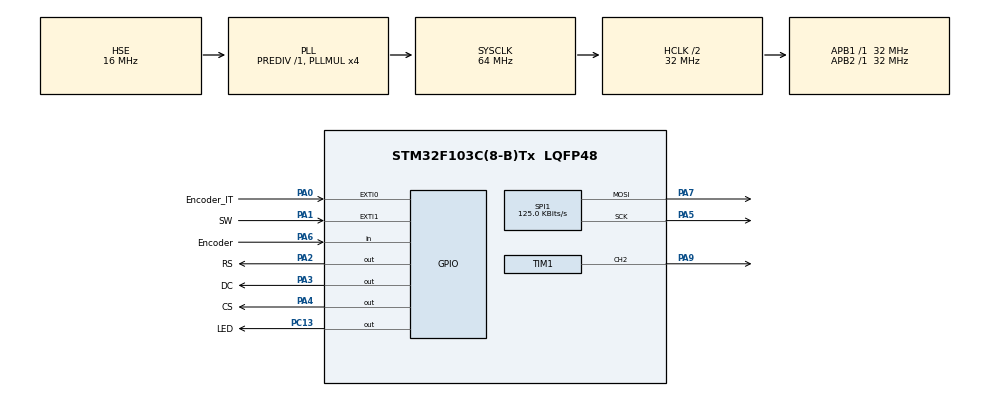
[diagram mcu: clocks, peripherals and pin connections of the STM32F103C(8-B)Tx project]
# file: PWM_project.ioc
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Mcu.Family=STM32F1
Mcu.Name=STM32F103C(8-B)Tx
Mcu.Package=LQFP48
NVIC.EXTI0_IRQn=true\:3\:0\:true\:false\:true\:true\:true\:true
NVIC.EXTI1_IRQn=true\:4\:0\:true\:false\:true\:true\:true\:true
NVIC.PriorityGroup=NVIC_PRIORITYGROUP_4
NVIC.TIM2_IRQn=true\:0\:0\:false\:false\:true\:true\:true\:true
PA0-WKUP.GPIO_Label=Encoder_IT
PA0-WKUP.GPIO_ModeDefaultEXTI=GPIO_MODE_IT_RISING_FALLING
PA0-WKUP.Signal=GPXTI0
PA1.GPIO_Label=SW
PA1.GPIO_ModeDefaultEXTI=GPIO_MODE_IT_FALLING
PA1.GPIO_PuPd=GPIO_PULLUP
PA1.Signal=GPXTI1
PA13.Mode=Serial_Wire
PA13.Signal=SYS_JTMS-SWDIO
PA14.Mode=Serial_Wire
PA14.Signal=SYS_JTCK-SWCLK
PA2.GPIO_Label=RS
PA2.Signal=GPIO_Output
PA3.GPIO_Label=DC
PA3.Signal=GPIO_Output
PA4.GPIO_Label=CS
PA4.Signal=GPIO_Output
PA5.Mode=TX_Only_Simplex_Unidirect_Master
PA5.Signal=SPI1_SCK
PA6.GPIO_Label=Encoder
PA6.GPIO_PuPd=GPIO_NOPULL
PA6.Signal=GPIO_Input
PA7.Mode=TX_Only_Simplex_Unidirect_Master
PA7.Signal=SPI1_MOSI
PA9.Signal=S_TIM1_CH2
PC13-TAMPER-RTC.GPIO_Label=LED
PC13-TAMPER-RTC.PinState=GPIO_PIN_SET
PC13-TAMPER-RTC.Signal=GPIO_Output
PD0-OSC_IN.Mode=HSE-External-Oscillator
PD0-OSC_IN.Signal=RCC_OSC_IN
PD1-OSC_OUT.Mode=HSE-External-Oscillator
PD1-OSC_OUT.Signal=RCC_OSC_OUT
ProjectManager.HeapSize=0x200
ProjectManager.StackSize=0x400
ProjectManager.TargetToolchain=STM32CubeIDE
RCC.AHBCLKDivider=RCC_SYSCLK_DIV2
RCC.AHBFreq_Value=32000000
RCC.APB1Freq_Value=32000000
RCC.APB1TimFreq_Value=32000000
RCC.APB2Freq_Value=32000000
RCC.APB2TimFreq_Value=32000000
RCC.HCLKFreq_Value=32000000
RCC.HSE_VALUE=16000000
RCC.PLLMUL=RCC_PLL_MUL4
RCC.PLLSourceVirtual=RCC_PLLSOURCE_HSE
RCC.SYSCLKFreq_VALUE=64000000
RCC.SYSCLKSource=RCC_SYSCLKSOURCE_PLLCLK
RCC.USBFreq_Value=64000000
SH.S_TIM1_CH2.0=TIM1_CH2,PWM Generation2 CH2
SPI1.BaudRatePrescaler=SPI_BAUDRATEPRESCALER_256
SPI1.CalculateBaudRate=125.0 KBits/s
SPI1.Direction=SPI_DIRECTION_2LINES
SPI1.Mode=SPI_MODE_MASTER
SPI1.VirtualType=VM_MASTER
TIM1.AutoReloadPreload=TIM_AUTORELOAD_PRELOAD_ENABLE
TIM1.Channel-PWM\ Generation2\ CH2=TIM_CHANNEL_2
TIM1.ClockDivision=TIM_CLOCKDIVISION_DIV1
TIM1.Period=100-1
TIM1.Prescaler=32-1
TIM1.Pulse-PWM\ Generation2\ CH2=30
TIM2.AutoReloadPreload=TIM_AUTORELOAD_PRELOAD_ENABLE
TIM2.Period=999
TIM2.Prescaler=32-1
VP_TIM1_VS_ClockSourceINT.Mode=Internal
VP_TIM2_VS_ClockSourceINT.Mode=Internal
board=custom

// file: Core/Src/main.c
/* USER CODE BEGIN Header */
/**
  ******************************************************************************
  * @file           : main.c
  * @brief          : Main program body
  ******************************************************************************
  * @attention
  *
  * Copyright (c) 2024 STMicroelectronics.
  * All rights reserved.
  *
  * This software is licensed under terms that can be found in the LICENSE file
  * in the root directory of this software component.
  * If no LICENSE file comes with this software, it is provided AS-IS.
  *
  ******************************************************************************
  */
/* USER CODE END Header */
#include "main.h"

/* USER CODE BEGIN Includes */
#include <stdio.h>

#include "SSD_1306.h"
#include "DataDef.h"
#define REAL_RAM
#include "RamDef.h"
#undef REAL_RAM
#include "FuncDef.h"
#include "test.h"
/* USER CODE END Includes */

SPI_HandleTypeDef hspi1;

TIM_HandleTypeDef htim1;
TIM_HandleTypeDef htim2;

/* USER CODE BEGIN PV */

uint8_t Encoder_Sw_Flag;
uint8_t Encoder_Rotate_Flag;
/* USER CODE END PV */

void SystemClock_Config(void);
static void MX_GPIO_Init(void);
static void MX_SPI1_Init(void);
static void MX_TIM1_Init(void);
static void MX_TIM2_Init(void);

/* USER CODE BEGIN 0 */
void Timer_Process( ST_TIMER* apst_Timer, uint8_t au1_time_ms )
{
    apst_Timer->u1_Cnt++;
    if ( apst_Timer->u1_Cnt >= au1_time_ms )
    {
      apst_Timer->u1_Cnt = U1_OFF;
      apst_Timer->u1_Flag = U1_ON;
    }
}

__weak void HAL_GPIO_EXTI_Callback(uint16_t GPIO_Pin)
{
  // Encoder rotated
  if ( GPIO_Pin == Encoder_IT_Pin )
  {
      Encoder_Rotate_Process_IT();
  }
}

/* USER CODE END 0 */

int main(void)
{

  /* MCU Configuration--------------------------------------------------------*/

  /* Reset of all peripherals, Initializes the Flash interface and the Systick. */
  HAL_Init();

  /* Configure the system clock */
  SystemClock_Config();

  /* Initialize all configured peripherals */
  MX_GPIO_Init();
  MX_SPI1_Init();
  MX_TIM1_Init();
  MX_TIM2_Init();
  /* USER CODE BEGIN 2 */
  Timer_Init();
  UI_Init();
  Encoder_Init();

  HAL_TIM_Base_Start_IT( &htim2 );              // Start time base 1ms
  HAL_TIM_PWM_Start( &htim1, TIM_CHANNEL_2 );   // Start PWM with Freq = , and Duty = .

  Encoder_Sw_Flag = U1_NO_PRESS;
  Encoder_Rotate_Flag = U1_NO_ROTATE;
  /* USER CODE END 2 */

  /* Infinite loop */
  while (1)
  {
    /* USER CODE BEGIN 3 */
    if ( st_MainLoop.u1_Flag == 1)
    {
      // Main loop 10ms
      u4_Cnt = 0;
    	st_MainLoop.u1_Flag = 0;
      Encoder_Sw_Flag = u1_Encoder_SW_Process();          // Check SW of Encoder press or not
      Encoder_Rotate_Flag = u1_Give_Encoder_Rotate();     // Check Encoder is rotated or not

      if ( (Encoder_Sw_Flag != U1_NO_PRESS)               // Change UI when switched press or Encoder rotate
        || (Encoder_Rotate_Flag != U1_NO_ROTATE )
        || (u1_Init_First_F == U1_ON))
        {
          UI_Sequence_Update( Encoder_Sw_Flag, Encoder_Rotate_Flag );
          PWM_Change();

          u1_Init_First_F = U1_OFF;
          Clear_Encoder_State();                // Clear Encoder state
        }
      }
  }
  /* USER CODE END 3 */
}

void SystemClock_Config(void)
{
  RCC_OscInitTypeDef RCC_OscInitStruct = {0};
  RCC_ClkInitTypeDef RCC_ClkInitStruct = {0};

  /** Initializes the RCC Oscillators according to the specified parameters
  * in the RCC_OscInitTypeDef structure.
  */
  RCC_OscInitStruct.OscillatorType = RCC_OSCILLATORTYPE_HSE;
  RCC_OscInitStruct.HSEState = RCC_HSE_ON;
  RCC_OscInitStruct.HSEPredivValue = RCC_HSE_PREDIV_DIV1;
  RCC_OscInitStruct.HSIState = RCC_HSI_ON;
  RCC_OscInitStruct.PLL.PLLState = RCC_PLL_ON;
  RCC_OscInitStruct.PLL.PLLSource = RCC_PLLSOURCE_HSE;
  RCC_OscInitStruct.PLL.PLLMUL = RCC_PLL_MUL4;
  if (HAL_RCC_OscConfig(&RCC_OscInitStruct) != HAL_OK)
  {
    Error_Handler();
  }

  /** Initializes the CPU, AHB and APB buses clocks
  */
  RCC_ClkInitStruct.ClockType = RCC_CLOCKTYPE_HCLK|RCC_CLOCKTYPE_SYSCLK
                              |RCC_CLOCKTYPE_PCLK1|RCC_CLOCKTYPE_PCLK2;
  RCC_ClkInitStruct.SYSCLKSource = RCC_SYSCLKSOURCE_PLLCLK;
  RCC_ClkInitStruct.AHBCLKDivider = RCC_SYSCLK_DIV2;
  RCC_ClkInitStruct.APB1CLKDivider = RCC_HCLK_DIV1;
  RCC_ClkInitStruct.APB2CLKDivider = RCC_HCLK_DIV1;

  if (HAL_RCC_ClockConfig(&RCC_ClkInitStruct, FLASH_LATENCY_2) != HAL_OK)
  {
    Error_Handler();
  }
}

static void MX_SPI1_Init(void)
{

  /* SPI1 parameter configuration*/
  hspi1.Instance = SPI1;
  hspi1.Init.Mode = SPI_MODE_MASTER;
  hspi1.Init.Direction = SPI_DIRECTION_2LINES;
  hspi1.Init.DataSize = SPI_DATASIZE_8BIT;
  hspi1.Init.CLKPolarity = SPI_POLARITY_LOW;
  hspi1.Init.CLKPhase = SPI_PHASE_1EDGE;
  hspi1.Init.NSS = SPI_NSS_SOFT;
  hspi1.Init.BaudRatePrescaler = SPI_BAUDRATEPRESCALER_256;
  hspi1.Init.FirstBit = SPI_FIRSTBIT_MSB;
  hspi1.Init.TIMode = SPI_TIMODE_DISABLE;
  hspi1.Init.CRCCalculation = SPI_CRCCALCULATION_DISABLE;
  hspi1.Init.CRCPolynomial = 10;
  if (HAL_SPI_Init(&hspi1) != HAL_OK)
  {
    Error_Handler();
  }

}

static void MX_TIM1_Init(void)
{

  TIM_ClockConfigTypeDef sClockSourceConfig = {0};
  TIM_MasterConfigTypeDef sMasterConfig = {0};
  TIM_OC_InitTypeDef sConfigOC = {0};
  TIM_BreakDeadTimeConfigTypeDef sBreakDeadTimeConfig = {0};

  htim1.Instance = TIM1;
  htim1.Init.Prescaler = 32-1;
  htim1.Init.CounterMode = TIM_COUNTERMODE_UP;
  htim1.Init.Period = 100-1;
  htim1.Init.ClockDivision = TIM_CLOCKDIVISION_DIV1;
  htim1.Init.RepetitionCounter = 0;
  htim1.Init.AutoReloadPreload = TIM_AUTORELOAD_PRELOAD_ENABLE;
  if (HAL_TIM_Base_Init(&htim1) != HAL_OK)
  {
    Error_Handler();
  }
  sClockSourceConfig.ClockSource = TIM_CLOCKSOURCE_INTERNAL;
  if (HAL_TIM_ConfigClockSource(&htim1, &sClockSourceConfig) != HAL_OK)
  {
    Error_Handler();
  }
  if (HAL_TIM_PWM_Init(&htim1) != HAL_OK)
  {
    Error_Handler();
  }
  sMasterConfig.MasterOutputTrigger = TIM_TRGO_RESET;
  sMasterConfig.MasterSlaveMode = TIM_MASTERSLAVEMODE_DISABLE;
  if (HAL_TIMEx_MasterConfigSynchronization(&htim1, &sMasterConfig) != HAL_OK)
  {
    Error_Handler();
  }
  sConfigOC.OCMode = TIM_OCMODE_PWM1;
  sConfigOC.Pulse = 30;
  sConfigOC.OCPolarity = TIM_OCPOLARITY_HIGH;
  sConfigOC.OCNPolarity = TIM_OCNPOLARITY_HIGH;
  sConfigOC.OCFastMode = TIM_OCFAST_DISABLE;
  sConfigOC.OCIdleState = TIM_OCIDLESTATE_RESET;
  sConfigOC.OCNIdleState = TIM_OCNIDLESTATE_RESET;
  if (HAL_TIM_PWM_ConfigChannel(&htim1, &sConfigOC, TIM_CHANNEL_2) != HAL_OK)
  {
    Error_Handler();
  }
  sBreakDeadTimeConfig.OffStateRunMode = TIM_OSSR_DISABLE;
  sBreakDeadTimeConfig.OffStateIDLEMode = TIM_OSSI_DISABLE;
  sBreakDeadTimeConfig.LockLevel = TIM_LOCKLEVEL_OFF;
  sBreakDeadTimeConfig.DeadTime = 0;
  sBreakDeadTimeConfig.BreakState = TIM_BREAK_DISABLE;
  sBreakDeadTimeConfig.BreakPolarity = TIM_BREAKPOLARITY_HIGH;
  sBreakDeadTimeConfig.AutomaticOutput = TIM_AUTOMATICOUTPUT_DISABLE;
  if (HAL_TIMEx_ConfigBreakDeadTime(&htim1, &sBreakDeadTimeConfig) != HAL_OK)
  {
    Error_Handler();
  }
  HAL_TIM_MspPostInit(&htim1);

}

static void MX_TIM2_Init(void)
{

  TIM_ClockConfigTypeDef sClockSourceConfig = {0};
  TIM_MasterConfigTypeDef sMasterConfig = {0};

  htim2.Instance = TIM2;
  htim2.Init.Prescaler = 64-1;
  htim2.Init.CounterMode = TIM_COUNTERMODE_UP;
  htim2.Init.Period = 999;
  htim2.Init.ClockDivision = TIM_CLOCKDIVISION_DIV1;
  htim2.Init.AutoReloadPreload = TIM_AUTORELOAD_PRELOAD_ENABLE;
  if (HAL_TIM_Base_Init(&htim2) != HAL_OK)
  {
    Error_Handler();
  }
  sClockSourceConfig.ClockSource = TIM_CLOCKSOURCE_INTERNAL;
  if (HAL_TIM_ConfigClockSource(&htim2, &sClockSourceConfig) != HAL_OK)
  {
    Error_Handler();
  }
  sMasterConfig.MasterOutputTrigger = TIM_TRGO_RESET;
  sMasterConfig.MasterSlaveMode = TIM_MASTERSLAVEMODE_DISABLE;
  if (HAL_TIMEx_MasterConfigSynchronization(&htim2, &sMasterConfig) != HAL_OK)
  {
    Error_Handler();
  }

}

static void MX_GPIO_Init(void)
{
  GPIO_InitTypeDef GPIO_InitStruct = {0};

  /* GPIO Ports Clock Enable */
  __HAL_RCC_GPIOC_CLK_ENABLE();
  __HAL_RCC_GPIOD_CLK_ENABLE();
  __HAL_RCC_GPIOA_CLK_ENABLE();

  /*Configure GPIO pin Output Level */
  HAL_GPIO_WritePin(LED_GPIO_Port, LED_Pin, GPIO_PIN_SET);

  /*Configure GPIO pin Output Level */
  HAL_GPIO_WritePin(GPIOA, DC_Pin|CS_Pin, GPIO_PIN_RESET);
  HAL_GPIO_WritePin(GPIOA, RS_Pin, GPIO_PIN_SET);

  /*Configure GPIO pin : LED_Pin */
  GPIO_InitStruct.Pin = LED_Pin;
  GPIO_InitStruct.Mode = GPIO_MODE_OUTPUT_PP;
  GPIO_InitStruct.Pull = GPIO_NOPULL;
  GPIO_InitStruct.Speed = GPIO_SPEED_FREQ_LOW;
  HAL_GPIO_Init(LED_GPIO_Port, &GPIO_InitStruct);

  /*Configure GPIO pin : Encoder_IT_Pin */
  GPIO_InitStruct.Pin = Encoder_IT_Pin;
  GPIO_InitStruct.Mode = GPIO_MODE_IT_RISING_FALLING;
  GPIO_InitStruct.Pull = GPIO_PULLUP;
  HAL_GPIO_Init(Encoder_IT_GPIO_Port, &GPIO_InitStruct);

  /*Configure GPIO pin : SW_Pin */
  GPIO_InitStruct.Pin = SW_Pin;
  GPIO_InitStruct.Mode = GPIO_MODE_INPUT;
  GPIO_InitStruct.Pull = GPIO_NOPULL;
  HAL_GPIO_Init(SW_GPIO_Port, &GPIO_InitStruct);

  /*Configure GPIO pins : RS_Pin DC_Pin CS_Pin */
  GPIO_InitStruct.Pin = RS_Pin|DC_Pin|CS_Pin;
  GPIO_InitStruct.Mode = GPIO_MODE_OUTPUT_PP;
  GPIO_InitStruct.Pull = GPIO_NOPULL;
  GPIO_InitStruct.Speed = GPIO_SPEED_FREQ_LOW;
  HAL_GPIO_Init(GPIOA, &GPIO_InitStruct);

  /*Configure GPIO pin : Encoder_Pin */
  GPIO_InitStruct.Pin = Encoder_Pin;
  GPIO_InitStruct.Mode = GPIO_MODE_INPUT;
  GPIO_InitStruct.Pull = GPIO_PULLUP;
  HAL_GPIO_Init(Encoder_GPIO_Port, &GPIO_InitStruct);

  /* EXTI interrupt init*/
  HAL_NVIC_SetPriority(EXTI0_IRQn, 3, 0);
  HAL_NVIC_EnableIRQ(EXTI0_IRQn);

  HAL_NVIC_SetPriority(EXTI1_IRQn, 4, 0);
  HAL_NVIC_EnableIRQ(EXTI1_IRQn);

}

void Error_Handler(void)
{
  __disable_irq();
  while (1)
  {
  }
}
